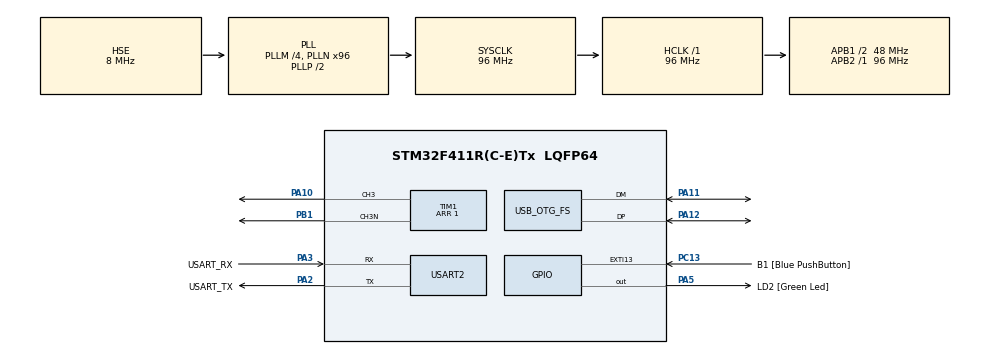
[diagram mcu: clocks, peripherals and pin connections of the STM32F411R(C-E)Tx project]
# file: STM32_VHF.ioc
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Dma.MEMTOMEM.1.Direction=DMA_MEMORY_TO_MEMORY
Dma.MEMTOMEM.1.FIFOMode=DMA_FIFOMODE_ENABLE
Dma.MEMTOMEM.1.FIFOThreshold=DMA_FIFO_THRESHOLD_FULL
Dma.MEMTOMEM.1.Instance=DMA2_Stream0
Dma.MEMTOMEM.1.MemBurst=DMA_MBURST_SINGLE
Dma.MEMTOMEM.1.MemDataAlignment=DMA_MDATAALIGN_BYTE
Dma.MEMTOMEM.1.MemInc=DMA_MINC_ENABLE
Dma.MEMTOMEM.1.Mode=DMA_NORMAL
Dma.MEMTOMEM.1.PeriphBurst=DMA_PBURST_SINGLE
Dma.MEMTOMEM.1.PeriphDataAlignment=DMA_PDATAALIGN_BYTE
Dma.MEMTOMEM.1.PeriphInc=DMA_PINC_ENABLE
Dma.MEMTOMEM.1.Priority=DMA_PRIORITY_VERY_HIGH
Dma.Request0=USART2_RX
Dma.Request1=MEMTOMEM
Dma.USART2_RX.0.Direction=DMA_PERIPH_TO_MEMORY
Dma.USART2_RX.0.FIFOMode=DMA_FIFOMODE_DISABLE
Dma.USART2_RX.0.Instance=DMA1_Stream5
Dma.USART2_RX.0.MemDataAlignment=DMA_MDATAALIGN_BYTE
Dma.USART2_RX.0.MemInc=DMA_MINC_ENABLE
Dma.USART2_RX.0.Mode=DMA_CIRCULAR
Dma.USART2_RX.0.PeriphDataAlignment=DMA_PDATAALIGN_BYTE
Dma.USART2_RX.0.PeriphInc=DMA_PINC_DISABLE
Dma.USART2_RX.0.Priority=DMA_PRIORITY_LOW
Mcu.Family=STM32F4
Mcu.Name=STM32F411R(C-E)Tx
Mcu.Package=LQFP64
NVIC.DMA1_Stream5_IRQn=true\:0\:0\:false\:false\:true\:false\:true
NVIC.OTG_FS_IRQn=true\:0\:0\:false\:false\:true\:false\:true
NVIC.PriorityGroup=NVIC_PRIORITYGROUP_0
PA10.GPIO_Speed=GPIO_SPEED_FREQ_VERY_HIGH
PA10.Signal=S_TIM1_CH3
PA11.Mode=Device_Only
PA11.Signal=USB_OTG_FS_DM
PA12.Mode=Device_Only
PA12.Signal=USB_OTG_FS_DP
PA13.GPIO_Label=TMS
PA13.Mode=Serial_Wire
PA13.Signal=SYS_JTMS-SWDIO
PA14.GPIO_Label=TCK
PA14.Mode=Serial_Wire
PA14.Signal=SYS_JTCK-SWCLK
PA2.GPIO_Label=USART_TX
PA2.Mode=Asynchronous
PA2.Signal=USART2_TX
PA3.GPIO_Label=USART_RX
PA3.Mode=Asynchronous
PA3.Signal=USART2_RX
PA5.GPIO_Label=LD2 [Green Led]
PA5.GPIO_Speed=GPIO_SPEED_FREQ_VERY_HIGH
PA5.Signal=GPIO_Output
PB1.GPIO_Speed=GPIO_SPEED_FREQ_VERY_HIGH
PB1.Mode=PWM Generation3 CH3 CH3N
PB1.Signal=TIM1_CH3N
PB3.GPIO_Label=SWO
PB3.Signal=SYS_JTDO-SWO
PC13-ANTI_TAMP.GPIO_Label=B1 [Blue PushButton]
PC13-ANTI_TAMP.GPIO_ModeDefaultEXTI=GPIO_MODE_IT_FALLING
PC13-ANTI_TAMP.Signal=GPXTI13
PC14-OSC32_IN.Mode=LSE-External-Oscillator
PC14-OSC32_IN.Signal=RCC_OSC32_IN
PC15-OSC32_OUT.Mode=LSE-External-Oscillator
PC15-OSC32_OUT.Signal=RCC_OSC32_OUT
PH0\ -\ OSC_IN.Mode=HSE-External-Clock-Source
PH0\ -\ OSC_IN.Signal=RCC_OSC_IN
PH1\ -\ OSC_OUT.Mode=HSE-External-Clock-Source
PH1\ -\ OSC_OUT.Signal=RCC_OSC_OUT
ProjectManager.HeapSize=0x200
ProjectManager.StackSize=0x400
ProjectManager.TargetToolchain=STM32CubeIDE
RCC.48MHZClocksFreq_Value=48000000
RCC.AHBFreq_Value=96000000
RCC.APB1CLKDivider=RCC_HCLK_DIV2
RCC.APB1Freq_Value=48000000
RCC.APB1TimFreq_Value=96000000
RCC.APB2Freq_Value=96000000
RCC.APB2TimFreq_Value=96000000
RCC.CortexFreq_Value=96000000
RCC.EnbaleCSS=true
RCC.FLatency=FLASH_LATENCY_3
RCC.FLatency-AdvancedSettings=FLASH_LATENCY_3
RCC.HCLKFreq_Value=96000000
RCC.HSE_VALUE=8000000
RCC.HSI_VALUE=16000000
RCC.PLLM=4
RCC.PLLN=96
RCC.SYSCLKFreq_VALUE=96000000
RCC.SYSCLKSource=RCC_SYSCLKSOURCE_PLLCLK
RCC.VCOOutputFreq_Value=192000000
SH.S_TIM1_CH3.0=TIM1_CH3,PWM Generation3 CH3 CH3N
TIM1.AutoReloadPreload=TIM_AUTORELOAD_PRELOAD_ENABLE
TIM1.Channel-PWM\ Generation3\ CH3\ CH3N=TIM_CHANNEL_3
TIM1.OCNIdleState_3=TIM_OCNIDLESTATE_RESET
TIM1.OCNPolarity_3=TIM_OCNPOLARITY_HIGH
TIM1.Period=1
TIM11.AutoReloadPreload=TIM_AUTORELOAD_PRELOAD_DISABLE
TIM4.Channel-Output\ Compare1\ No\ Output=TIM_CHANNEL_1
TIM4.TIM_MasterOutputTrigger=TIM_TRGO_UPDATE
USART2.VirtualMode=VM_ASYNC
USB_DEVICE.CLASS_NAME_FS=CDC
USB_DEVICE.VirtualMode=Cdc
USB_DEVICE.VirtualModeFS=Cdc_FS
USB_OTG_FS.VirtualMode=Device_Only
VP_TIM11_VS_ClockSourceINT.Mode=Enable_Timer
VP_TIM4_VS_no_output1.Mode=Output Compare1 No Output
VP_TIM5_VS_ClockSourceITR.Mode=TriggerSource_ITR2
VP_TIM5_VS_ControllerModeClock.Mode=Clock Mode
VP_USB_DEVICE_VS_USB_DEVICE_CDC_FS.Mode=CDC_FS
board=NUCLEO-F411RE

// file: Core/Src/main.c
/* USER CODE BEGIN Header */
/**
  ******************************************************************************
  * @file           : main.c
  * @brief          : Main program body
  ******************************************************************************
  * @attention
  *
  * <h2><center>&copy; Copyright (c) 2020 STMicroelectronics.
  * All rights reserved.</center></h2>
  *
  * This software component is licensed by ST under BSD 3-Clause license,
  * the "License"; You may not use this file except in compliance with the
  * License. You may obtain a copy of the License at:
  *                        opensource.org/licenses/BSD-3-Clause
  *
  ******************************************************************************
  */
/* USER CODE END Header */

#include "main.h"
#include "usb_device.h"

/* USER CODE BEGIN Includes */
#include "math.h"
#include "usbd_cdc_if.h"
/* USER CODE END Includes */

TIM_HandleTypeDef htim1;
TIM_HandleTypeDef htim4;
TIM_HandleTypeDef htim5;
TIM_HandleTypeDef htim11;

UART_HandleTypeDef huart2;
DMA_HandleTypeDef hdma_usart2_rx;

DMA_HandleTypeDef hdma_memtomem_dma2_stream0;

void SystemClock_Config(void);
static void MX_GPIO_Init(void);
static void MX_DMA_Init(void);
static void MX_USART2_UART_Init(void);
static void MX_TIM1_Init(void);
static void MX_TIM11_Init(void);
static void MX_TIM4_Init(void);
static void MX_TIM5_Init(void);

/* USER CODE BEGIN 0 */
void HAL_UART_RxCpltCallback(UART_HandleTypeDef *huart) {
	HAL_GPIO_TogglePin(LD2_GPIO_Port, LD2_Pin);
	HAL_UART_Transmit(&huart2, (uint8_t *) "Y", 1, HAL_MAX_DELAY);
	__NOP();
}

// Display Buffer
#define ZST_DISPLAY_BLANK_COUNT (20) // no. of blanking lines
#define ZST_DISPLAY_LINE_BYTES  (30) // no. of bytes per line
#define ZST_DISPLAY_LINE_COUNT  (304 - ZST_DISPLAY_BLANK_COUNT) // no. of lines
// USB CDC Receive Callback
#define ZST_CDC_RX_SIZE (ZST_DISPLAY_LINE_COUNT * ZST_DISPLAY_LINE_BYTES) //(1024*12)
#define ZST_CDC_TX_SIZE (200)

uint8_t ZST_CDC_RxBuffer[ZST_CDC_RX_SIZE];
uint8_t ZST_CDC_TxBuffer[ZST_CDC_TX_SIZE];
//uint8_t ZST_DisplayBuffer[ZST_CDC_RX_SIZE];
#define ZST_DisplayBuffer ZST_CDC_RxBuffer

extern USBD_HandleTypeDef hUsbDeviceFS;
int8_t ZST_CDC_Init_FS(void) {
  USBD_CDC_SetTxBuffer(&hUsbDeviceFS, ZST_CDC_TxBuffer, 0);
  USBD_CDC_SetRxBuffer(&hUsbDeviceFS, ZST_CDC_RxBuffer);
  return (USBD_OK);
}
int8_t ZST_CDC_Receive_FS(uint8_t* Buf, uint32_t *Len) {
  HAL_PCD_EP_Receive(hUsbDeviceFS.pData, CDC_OUT_EP, (uint8_t *) &ZST_CDC_RxBuffer, ZST_CDC_RX_SIZE);
  HAL_GPIO_TogglePin(LD2_GPIO_Port, LD2_Pin);
  return (USBD_OK);
}
extern PCD_HandleTypeDef hpcd_USB_OTG_FS;
void ZST_CDC_Init() {
	USBD_Interface_fops_FS.Init = ZST_CDC_Init_FS;
	USBD_Interface_fops_FS.Receive = ZST_CDC_Receive_FS;
	snprintf((char *) ZST_CDC_TxBuffer, 200, "Y");
	memset(ZST_CDC_RxBuffer, '\x0A', ZST_CDC_RX_SIZE);
	memset(ZST_CDC_TxBuffer, '\0', ZST_CDC_TX_SIZE);
}
/* USER CODE END 0 */

int main(void)
{

  /* MCU Configuration--------------------------------------------------------*/

  /* Reset of all peripherals, Initializes the Flash interface and the Systick. */
  HAL_Init();

  /* Configure the system clock */
  SystemClock_Config();

  /* USER CODE BEGIN SysInit */

  //-----------------------------------------------------------------------------
  // Setup USB CDC
  ZST_CDC_Init();

  /* USER CODE END SysInit */

  /* Initialize all configured peripherals */
  MX_GPIO_Init();
  MX_DMA_Init();
  MX_USART2_UART_Init();
  MX_TIM1_Init();
  MX_TIM11_Init();
  MX_USB_DEVICE_Init();
  MX_TIM4_Init();
  MX_TIM5_Init();

  /* Infinite loop */
  /* USER CODE BEGIN WHILE */
  //-----------------------------------------------------------------------------
#define ENABLE_TIM1_PB1()  { SET_BIT(GPIOB->MODER, GPIO_MODER_MODER1_1); }
#define DISABLE_TIM1_PB1() { CLEAR_BIT(GPIOB->MODER, GPIO_MODER_MODER1); }
#define ENABLE_TIM1_PA10()  { SET_BIT(GPIOA->MODER, GPIO_MODER_MODER10_1); }
#define DISABLE_TIM1_PA10() { CLEAR_BIT(GPIOA->MODER, GPIO_MODER_MODER10); }

  //-----------------------------------------------------------------------------
  /*
   * Frequency calculations:
   * Choose PWM period of 14,
   * Period frequency = 96MHz/14 = 6.857MHz
   * Channel frequency = 6.857MHz*9 = 61.7MHz
   */
#define PAL_SETUP() { TIM1->ARR = 14-1; } // Period of  14 (Auto-reload register)
#define PAL_VH()	{ TIM1->CCR3 = 0; }
#define PAL_HIGH()  { TIM1->CCR3 = 4; }
#define PAL_LOW()   { TIM1->CCR3 = 7-1; } // Duty cycle (Compare register)

  // Setup TIM1_CH3 (APB2) to transmit VHF signal.
  PAL_SETUP();
  HAL_TIM_PWM_Start(&htim1, TIM_CHANNEL_3);

  //-----------------------------------------------------------------------------
#define WATCH_PRESCALER  (1)
#define WATCH_RESET()          { TIM11->CNT = 0; }
#define WATCH_WAIT_UNTIL(x)    { while (TIM11->CNT < (x)); }
#define WATCH_GET_VALUE()      (TIM11->CNT)

#define USEC_CALCULATE(usec) ((uint16_t) ceil((usec) * HAL_RCC_GetHCLKFreq() * 1.0 / WATCH_PRESCALER))

  // Setup TIM11 as continuous timer
  __HAL_TIM_SET_PRESCALER(&htim11, WATCH_PRESCALER-1);
  __HAL_TIM_SET_AUTORELOAD(&htim11, 0xFFFF);
  HAL_TIM_Base_Start(&htim11);

  const uint16_t USEC_FRONT_PORCH = USEC_CALCULATE(1.65e-6);
  const uint16_t USEC_HORI_SYNC = USEC_CALCULATE(4.7e-6);
  const uint16_t USEC_BACK_PORCH = USEC_CALCULATE(1.0e-6); // arbitary
  const uint16_t USEC_64 = USEC_CALCULATE(64.5e-6); // H = 64us + 0.5us tolerance
  // const uint16_t USEC_63 = USEC_CALCULATE(63e-6);

  const uint16_t USEC_32 = USEC_CALCULATE(32.25e-6); // 0.5H = 32us
  const uint16_t USEC_27_3 = USEC_CALCULATE(27.3e-6);
  const uint16_t USEC_2_35 = USEC_CALCULATE(2.5e-6);

#define LONGSYNC() { \
	WATCH_RESET(); \
	PAL_LOW(); WATCH_WAIT_UNTIL(USEC_27_3);  \
	PAL_HIGH(); WATCH_WAIT_UNTIL(USEC_32);  \
}
#define SHORTSYNC() { \
	WATCH_RESET(); \
	PAL_LOW(); WATCH_WAIT_UNTIL(USEC_2_35);  \
	PAL_HIGH(); WATCH_WAIT_UNTIL(USEC_32);  \
}

  //-----------------------------------------------------------------------------
  // Setup TIM4 to overflow on every 8 ticks, and clock TIM5 to count the bytes
  const float RAW_FRAME_TIME = 55e-6;
  const uint16_t tim4_prescaler = (uint16_t) (HAL_RCC_GetHCLKFreq() * RAW_FRAME_TIME / ZST_DISPLAY_LINE_BYTES / 8);

  __HAL_TIM_SET_PRESCALER(&htim4, tim4_prescaler);
  __HAL_TIM_SET_AUTORELOAD(&htim4, 8-1);
  HAL_TIM_OC_Start(&htim4, TIM_CHANNEL_1);
  __HAL_TIM_SET_PRESCALER(&htim5, 0);
  __HAL_TIM_SET_AUTORELOAD(&htim5, 0xFFFF);
  HAL_TIM_Base_Start(&htim5);

#define DISPLAY_RESET()              { TIM5->CNT = 0; TIM4->CNT = 0;  }
#define DISPLAY_GET_BIT_VALUE()      (TIM4->CNT)
#define DISPLAY_GET_BYTE_VALUE()     (TIM5->CNT)

  //-----------------------------------------------------------------------------
  // Setup UART to receive to buffer using DMA
  const uint16_t dma_size = ZST_DISPLAY_LINE_COUNT * ZST_DISPLAY_LINE_BYTES;
  uint8_t dma_buffer[dma_size];
  HAL_UART_Receive_DMA(&huart2, (uint8_t *) &dma_buffer, dma_size);

  // Select interrupt to sleep up
  hdma_usart2_rx.Instance->CR  &= ~(DMA_IT_TC | DMA_IT_TE | DMA_IT_DME);
  hdma_usart2_rx.Instance->CR  &= ~(DMA_IT_HT);
  hdma_usart2_rx.Instance->FCR &= ~(DMA_IT_FE);
  hdma_usart2_rx.Instance->CR  |= DMA_IT_TC;

  //-----------------------------------------------------------------------------
  uint16_t line = 0;
  while (1) {
	  for (line = 0; line < 5; line++) { LONGSYNC(); }
	  for (line = 0; line < 5; line++) { SHORTSYNC(); }
    __NOP();

	  for (line = 0; line < 304; line++) {
		  WATCH_RESET();
		  PAL_HIGH();
		  WATCH_WAIT_UNTIL(USEC_FRONT_PORCH);
		  PAL_LOW();
		  WATCH_WAIT_UNTIL(USEC_FRONT_PORCH + USEC_HORI_SYNC);
		  PAL_HIGH();
		  WATCH_WAIT_UNTIL(USEC_FRONT_PORCH + USEC_HORI_SYNC + USEC_BACK_PORCH);
		  DISPLAY_RESET();
      __NOP();

		  if (line < ZST_DISPLAY_BLANK_COUNT) {
			  // blanking
		  } else {
			  const uint32_t displayed_line = line - ZST_DISPLAY_BLANK_COUNT;
			  const uint32_t array_offset = displayed_line*ZST_DISPLAY_LINE_BYTES;
			  uint32_t lbit = 0;
			  uint32_t lbyte = 0;
			  uint8_t isHigh;

			  while (1) {
				  lbit = DISPLAY_GET_BIT_VALUE();
				  if (lbit == 0) {
					  lbyte = DISPLAY_GET_BYTE_VALUE();
					  if (lbyte >= ZST_DISPLAY_LINE_BYTES) {
						  break;
					  }
				  }
				  isHigh = ZST_DisplayBuffer[array_offset + lbyte] & (1<<lbit);
				  if (isHigh) {
					  PAL_VH(); //1
				  } else {
					  PAL_HIGH(); //0
				  }
			  }
		  }
		  WATCH_WAIT_UNTIL(USEC_64);
	  }

#define NON_INTERLACE
#ifndef NON_INTERLACE
	  for (line = 0; line < 5; line++) { SHORTSYNC(); }
	  for (line = 0; line < 5; line++) { LONGSYNC(); }
	  for (line = 0; line < 4; line++) { SHORTSYNC(); }
    __NOP();

	  for (line = 0; line < 305; line++) {
	  }
#endif

	  for (line = 0; line < 6; line++) { SHORTSYNC(); }
    __NOP();

    /* USER CODE END WHILE */

  }
}

void SystemClock_Config(void)
{
  RCC_OscInitTypeDef RCC_OscInitStruct = {0};
  RCC_ClkInitTypeDef RCC_ClkInitStruct = {0};

  /** Configure the main internal regulator output voltage
  */
  __HAL_RCC_PWR_CLK_ENABLE();
  __HAL_PWR_VOLTAGESCALING_CONFIG(PWR_REGULATOR_VOLTAGE_SCALE1);
  /** Initializes the CPU, AHB and APB busses clocks
  */
  RCC_OscInitStruct.OscillatorType = RCC_OSCILLATORTYPE_HSE;
  RCC_OscInitStruct.HSEState = RCC_HSE_BYPASS;
  RCC_OscInitStruct.PLL.PLLState = RCC_PLL_ON;
  RCC_OscInitStruct.PLL.PLLSource = RCC_PLLSOURCE_HSE;
  RCC_OscInitStruct.PLL.PLLM = 4;
  RCC_OscInitStruct.PLL.PLLN = 96;
  RCC_OscInitStruct.PLL.PLLP = RCC_PLLP_DIV2;
  RCC_OscInitStruct.PLL.PLLQ = 4;
  if (HAL_RCC_OscConfig(&RCC_OscInitStruct) != HAL_OK)
  {
    Error_Handler();
  }
  /** Initializes the CPU, AHB and APB busses clocks
  */
  RCC_ClkInitStruct.ClockType = RCC_CLOCKTYPE_HCLK|RCC_CLOCKTYPE_SYSCLK
                              |RCC_CLOCKTYPE_PCLK1|RCC_CLOCKTYPE_PCLK2;
  RCC_ClkInitStruct.SYSCLKSource = RCC_SYSCLKSOURCE_PLLCLK;
  RCC_ClkInitStruct.AHBCLKDivider = RCC_SYSCLK_DIV1;
  RCC_ClkInitStruct.APB1CLKDivider = RCC_HCLK_DIV2;
  RCC_ClkInitStruct.APB2CLKDivider = RCC_HCLK_DIV1;

  if (HAL_RCC_ClockConfig(&RCC_ClkInitStruct, FLASH_LATENCY_3) != HAL_OK)
  {
    Error_Handler();
  }
  /** Enables the Clock Security System
  */
  HAL_RCC_EnableCSS();
}

static void MX_TIM1_Init(void)
{

  TIM_MasterConfigTypeDef sMasterConfig = {0};
  TIM_OC_InitTypeDef sConfigOC = {0};
  TIM_BreakDeadTimeConfigTypeDef sBreakDeadTimeConfig = {0};

  htim1.Instance = TIM1;
  htim1.Init.Prescaler = 0;
  htim1.Init.CounterMode = TIM_COUNTERMODE_UP;
  htim1.Init.Period = 1;
  htim1.Init.ClockDivision = TIM_CLOCKDIVISION_DIV1;
  htim1.Init.RepetitionCounter = 0;
  htim1.Init.AutoReloadPreload = TIM_AUTORELOAD_PRELOAD_ENABLE;
  if (HAL_TIM_PWM_Init(&htim1) != HAL_OK)
  {
    Error_Handler();
  }
  sMasterConfig.MasterOutputTrigger = TIM_TRGO_RESET;
  sMasterConfig.MasterSlaveMode = TIM_MASTERSLAVEMODE_DISABLE;
  if (HAL_TIMEx_MasterConfigSynchronization(&htim1, &sMasterConfig) != HAL_OK)
  {
    Error_Handler();
  }
  sConfigOC.OCMode = TIM_OCMODE_PWM1;
  sConfigOC.Pulse = 0;
  sConfigOC.OCPolarity = TIM_OCPOLARITY_HIGH;
  sConfigOC.OCNPolarity = TIM_OCNPOLARITY_HIGH;
  sConfigOC.OCFastMode = TIM_OCFAST_DISABLE;
  sConfigOC.OCIdleState = TIM_OCIDLESTATE_RESET;
  sConfigOC.OCNIdleState = TIM_OCNIDLESTATE_RESET;
  if (HAL_TIM_PWM_ConfigChannel(&htim1, &sConfigOC, TIM_CHANNEL_3) != HAL_OK)
  {
    Error_Handler();
  }
  sBreakDeadTimeConfig.OffStateRunMode = TIM_OSSR_DISABLE;
  sBreakDeadTimeConfig.OffStateIDLEMode = TIM_OSSI_DISABLE;
  sBreakDeadTimeConfig.LockLevel = TIM_LOCKLEVEL_OFF;
  sBreakDeadTimeConfig.DeadTime = 0;
  sBreakDeadTimeConfig.BreakState = TIM_BREAK_DISABLE;
  sBreakDeadTimeConfig.BreakPolarity = TIM_BREAKPOLARITY_HIGH;
  sBreakDeadTimeConfig.AutomaticOutput = TIM_AUTOMATICOUTPUT_DISABLE;
  if (HAL_TIMEx_ConfigBreakDeadTime(&htim1, &sBreakDeadTimeConfig) != HAL_OK)
  {
    Error_Handler();
  }
  HAL_TIM_MspPostInit(&htim1);

}

static void MX_TIM4_Init(void)
{

  TIM_MasterConfigTypeDef sMasterConfig = {0};
  TIM_OC_InitTypeDef sConfigOC = {0};

  htim4.Instance = TIM4;
  htim4.Init.Prescaler = 0;
  htim4.Init.CounterMode = TIM_COUNTERMODE_UP;
  htim4.Init.Period = 0;
  htim4.Init.ClockDivision = TIM_CLOCKDIVISION_DIV1;
  htim4.Init.AutoReloadPreload = TIM_AUTORELOAD_PRELOAD_DISABLE;
  if (HAL_TIM_OC_Init(&htim4) != HAL_OK)
  {
    Error_Handler();
  }
  sMasterConfig.MasterOutputTrigger = TIM_TRGO_UPDATE;
  sMasterConfig.MasterSlaveMode = TIM_MASTERSLAVEMODE_DISABLE;
  if (HAL_TIMEx_MasterConfigSynchronization(&htim4, &sMasterConfig) != HAL_OK)
  {
    Error_Handler();
  }
  sConfigOC.OCMode = TIM_OCMODE_TIMING;
  sConfigOC.Pulse = 0;
  sConfigOC.OCPolarity = TIM_OCPOLARITY_HIGH;
  sConfigOC.OCFastMode = TIM_OCFAST_DISABLE;
  if (HAL_TIM_OC_ConfigChannel(&htim4, &sConfigOC, TIM_CHANNEL_1) != HAL_OK)
  {
    Error_Handler();
  }

}

static void MX_TIM5_Init(void)
{

  TIM_SlaveConfigTypeDef sSlaveConfig = {0};
  TIM_MasterConfigTypeDef sMasterConfig = {0};

  htim5.Instance = TIM5;
  htim5.Init.Prescaler = 0;
  htim5.Init.CounterMode = TIM_COUNTERMODE_UP;
  htim5.Init.Period = 0;
  htim5.Init.ClockDivision = TIM_CLOCKDIVISION_DIV1;
  htim5.Init.AutoReloadPreload = TIM_AUTORELOAD_PRELOAD_DISABLE;
  if (HAL_TIM_Base_Init(&htim5) != HAL_OK)
  {
    Error_Handler();
  }
  sSlaveConfig.SlaveMode = TIM_SLAVEMODE_EXTERNAL1;
  sSlaveConfig.InputTrigger = TIM_TS_ITR2;
  if (HAL_TIM_SlaveConfigSynchro(&htim5, &sSlaveConfig) != HAL_OK)
  {
    Error_Handler();
  }
  sMasterConfig.MasterOutputTrigger = TIM_TRGO_RESET;
  sMasterConfig.MasterSlaveMode = TIM_MASTERSLAVEMODE_DISABLE;
  if (HAL_TIMEx_MasterConfigSynchronization(&htim5, &sMasterConfig) != HAL_OK)
  {
    Error_Handler();
  }

}

static void MX_TIM11_Init(void)
{

  htim11.Instance = TIM11;
  htim11.Init.Prescaler = 0;
  htim11.Init.CounterMode = TIM_COUNTERMODE_UP;
  htim11.Init.Period = 0;
  htim11.Init.ClockDivision = TIM_CLOCKDIVISION_DIV1;
  htim11.Init.AutoReloadPreload = TIM_AUTORELOAD_PRELOAD_DISABLE;
  if (HAL_TIM_Base_Init(&htim11) != HAL_OK)
  {
    Error_Handler();
  }

}

static void MX_USART2_UART_Init(void)
{

  huart2.Instance = USART2;
  huart2.Init.BaudRate = 115200;
  huart2.Init.WordLength = UART_WORDLENGTH_8B;
  huart2.Init.StopBits = UART_STOPBITS_1;
  huart2.Init.Parity = UART_PARITY_NONE;
  huart2.Init.Mode = UART_MODE_TX_RX;
  huart2.Init.HwFlowCtl = UART_HWCONTROL_NONE;
  huart2.Init.OverSampling = UART_OVERSAMPLING_16;
  if (HAL_UART_Init(&huart2) != HAL_OK)
  {
    Error_Handler();
  }

}

static void MX_DMA_Init(void)
{

  /* DMA controller clock enable */
  __HAL_RCC_DMA1_CLK_ENABLE();
  __HAL_RCC_DMA2_CLK_ENABLE();

  /* Configure DMA request hdma_memtomem_dma2_stream0 on DMA2_Stream0 */
  hdma_memtomem_dma2_stream0.Instance = DMA2_Stream0;
  hdma_memtomem_dma2_stream0.Init.Channel = DMA_CHANNEL_0;
  hdma_memtomem_dma2_stream0.Init.Direction = DMA_MEMORY_TO_MEMORY;
  hdma_memtomem_dma2_stream0.Init.PeriphInc = DMA_PINC_ENABLE;
  hdma_memtomem_dma2_stream0.Init.MemInc = DMA_MINC_ENABLE;
  hdma_memtomem_dma2_stream0.Init.PeriphDataAlignment = DMA_PDATAALIGN_BYTE;
  hdma_memtomem_dma2_stream0.Init.MemDataAlignment = DMA_MDATAALIGN_BYTE;
  hdma_memtomem_dma2_stream0.Init.Mode = DMA_NORMAL;
  hdma_memtomem_dma2_stream0.Init.Priority = DMA_PRIORITY_VERY_HIGH;
  hdma_memtomem_dma2_stream0.Init.FIFOMode = DMA_FIFOMODE_ENABLE;
  hdma_memtomem_dma2_stream0.Init.FIFOThreshold = DMA_FIFO_THRESHOLD_FULL;
  hdma_memtomem_dma2_stream0.Init.MemBurst = DMA_MBURST_SINGLE;
  hdma_memtomem_dma2_stream0.Init.PeriphBurst = DMA_PBURST_SINGLE;
  if (HAL_DMA_Init(&hdma_memtomem_dma2_stream0) != HAL_OK)
  {
    Error_Handler( );
  }

  /* DMA interrupt init */
  /* DMA1_Stream5_IRQn interrupt configuration */
  HAL_NVIC_SetPriority(DMA1_Stream5_IRQn, 0, 0);
  HAL_NVIC_EnableIRQ(DMA1_Stream5_IRQn);

}

static void MX_GPIO_Init(void)
{
  GPIO_InitTypeDef GPIO_InitStruct = {0};

  /* GPIO Ports Clock Enable */
  __HAL_RCC_GPIOC_CLK_ENABLE();
  __HAL_RCC_GPIOH_CLK_ENABLE();
  __HAL_RCC_GPIOA_CLK_ENABLE();
  __HAL_RCC_GPIOB_CLK_ENABLE();

  /*Configure GPIO pin Output Level */
  HAL_GPIO_WritePin(LD2_GPIO_Port, LD2_Pin, GPIO_PIN_RESET);

  /*Configure GPIO pin : B1_Pin */
  GPIO_InitStruct.Pin = B1_Pin;
  GPIO_InitStruct.Mode = GPIO_MODE_IT_FALLING;
  GPIO_InitStruct.Pull = GPIO_NOPULL;
  HAL_GPIO_Init(B1_GPIO_Port, &GPIO_InitStruct);

  /*Configure GPIO pin : LD2_Pin */
  GPIO_InitStruct.Pin = LD2_Pin;
  GPIO_InitStruct.Mode = GPIO_MODE_OUTPUT_PP;
  GPIO_InitStruct.Pull = GPIO_NOPULL;
  GPIO_InitStruct.Speed = GPIO_SPEED_FREQ_VERY_HIGH;
  HAL_GPIO_Init(LD2_GPIO_Port, &GPIO_InitStruct);

}

void Error_Handler(void)
{
}

/************************ (C) COPYRIGHT STMicroelectronics *****END OF FILE****/
